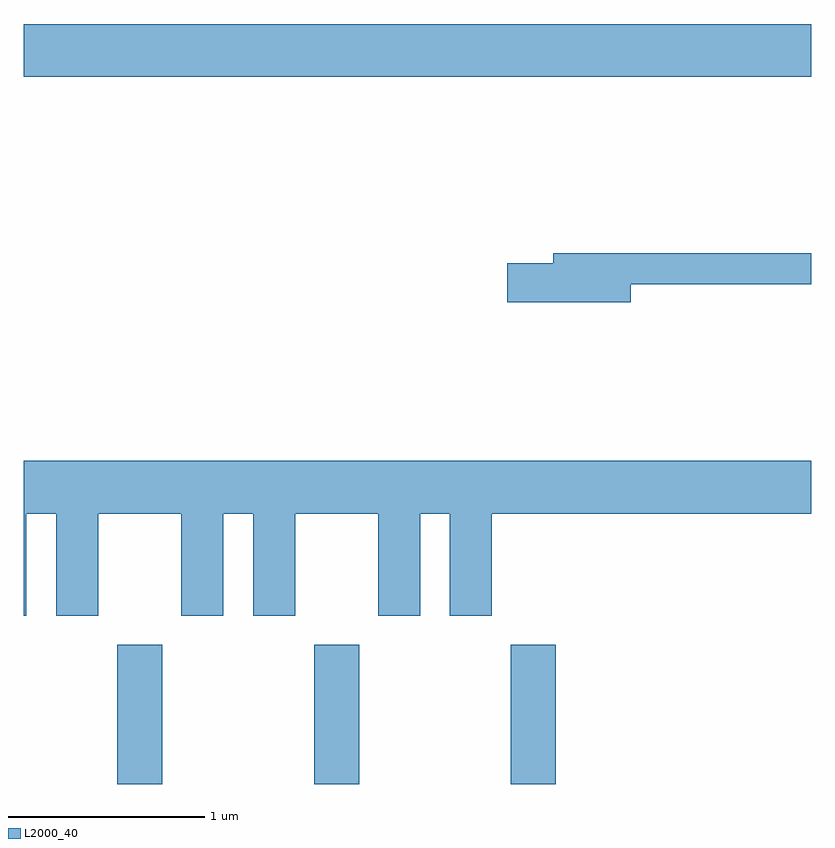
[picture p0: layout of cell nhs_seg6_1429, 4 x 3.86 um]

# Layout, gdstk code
import gdstk
lib = gdstk.Library(unit=1e-6, precision=1e-09)
def R(c, l, rs):  # rectangles x0, y0, x1, y1
    for r in rs: c.add(gdstk.rectangle(r[:2], r[2:], *l))
def A(c, l, x, y, w, h, nx, ny, dx, dy):  # array of equal rectangles
    R(c, l, [(x+i*dx, y+j*dy, x+i*dx+w, y+j*dy+h) for i in range(nx) for j in range(ny)])
def P(c, l, *ps):  # polygons
    for p in ps: c.add(gdstk.Polygon(p, *l))
L2000_40 = (2000, 40)

nhs_seg6_1429 = lib.new_cell('nhs_seg6_1429')
A(nhs_seg6_1429, L2000_40, 228.086, 1604.162, 0.228, 0.707, 3, 1, 1, 0)
R(nhs_seg6_1429, L2000_40, [(227.611,1607.756,231.611,1608.024)])
P(nhs_seg6_1429, L2000_40, [(230.694,1606.701),(231.611,1606.701),(231.611,1606.859),(230.301,1606.859),(230.301,1606.809),(230.066,1606.809),(230.066,1606.611),(230.694,1606.611)],
  [(227.624,1605.536),(227.776,1605.536),(227.776,1605.016),(227.989,1605.016),(227.989,1605.536),(228.411,1605.536),(228.411,1605.016),(228.624,1605.016),(228.624,1605.536),(228.776,1605.536),(228.776,1605.016),(228.989,1605.016),(228.989,1605.536),(229.411,1605.536),(229.411,1605.016),(229.624,1605.016),(229.624,1605.536),(229.776,1605.536),(229.776,1605.016),(229.989,1605.016),(229.989,1605.536),(231.611,1605.536),(231.611,1605.804),(227.611,1605.804),(227.611,1605.016),(227.624,1605.016)])

lib.write_gds('nhs_seg6_1429.gds')
